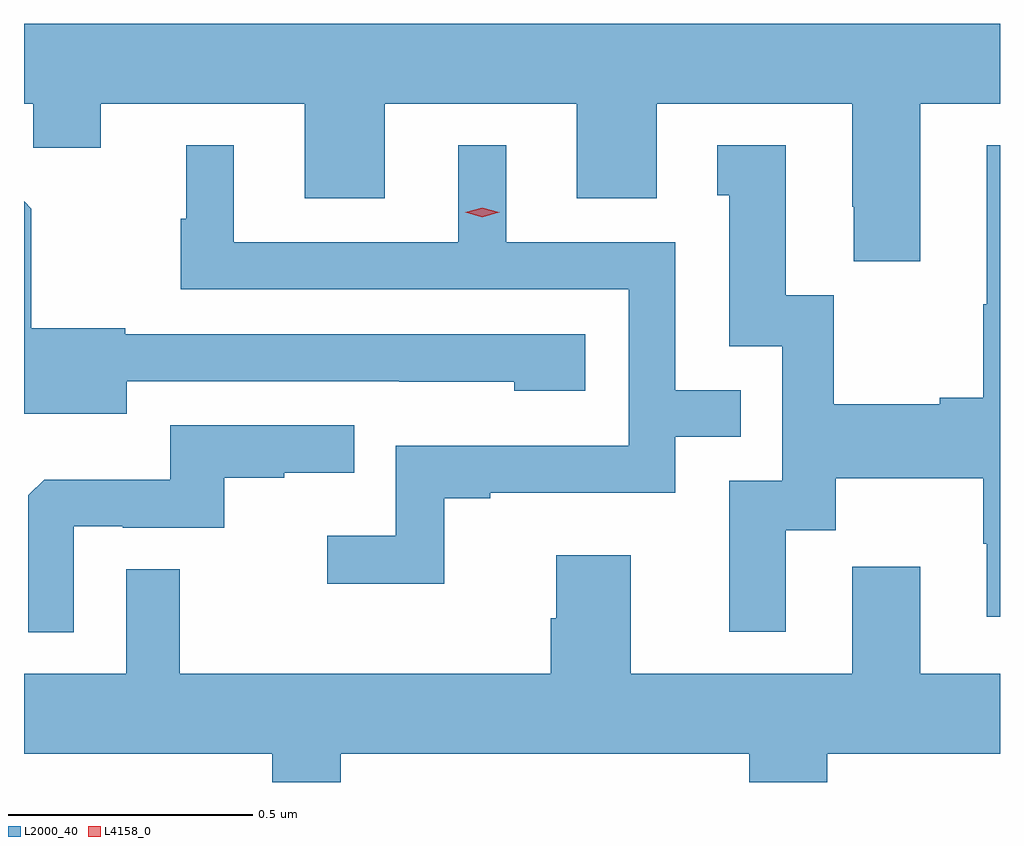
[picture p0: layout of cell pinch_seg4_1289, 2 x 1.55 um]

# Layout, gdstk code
import gdstk
lib = gdstk.Library(unit=1e-6, precision=1e-09)
def P(c, l, *ps):  # polygons
    for p in ps: c.add(gdstk.Polygon(p, *l))
L2000_40 = (2000, 40)
L4158_0 = (4158, 0)

pinch_seg4_1289 = lib.new_cell('pinch_seg4_1289')
P(pinch_seg4_1289, L2000_40, [(265.261,770.18),(265.424,770.18),(265.424,770.344),(263.424,770.344),(263.424,770.18),(263.443,770.18),(263.443,770.09),(263.581,770.09),(263.581,770.18),(263.999,770.18),(263.999,769.986),(264.163,769.986),(264.163,770.18),(264.557,770.18),(264.557,769.986),(264.721,769.986),(264.721,770.18),(265.121,770.18),(265.121,769.969),(265.124,769.969),(265.124,769.857),(265.261,769.857)],
  [(264.285,769.371),(264.379,769.371),(264.379,769.383),(264.759,769.383),(264.759,769.497),(264.893,769.497),(264.893,769.593),(264.759,769.593),(264.759,769.896),(264.412,769.896),(264.412,770.095),(264.314,770.095),(264.314,769.896),(263.854,769.896),(263.854,770.095),(263.756,770.095),(263.756,769.944),(263.745,769.944),(263.745,769.8),(264.663,769.8),(264.663,769.479),(264.186,769.479),(264.186,769.294),(264.045,769.294),(264.045,769.196),(264.285,769.196)],
  [(264.985,769.306),(265.087,769.306),(265.087,769.412),(265.39,769.412),(265.39,769.278),(265.397,769.278),(265.397,769.128),(265.424,769.128),(265.424,770.095),(265.397,770.095),(265.397,769.769),(265.39,769.769),(265.39,769.577),(265.301,769.577),(265.301,769.564),(265.083,769.564),(265.083,769.787),(264.985,769.787),(264.985,770.095),(264.845,770.095),(264.845,769.992),(264.869,769.992),(264.869,769.683),(264.978,769.683),(264.978,769.407),(264.869,769.407),(264.869,769.098),(264.985,769.098)],
  [(263.635,769.611),(264.193,769.611),(264.193,769.61),(264.429,769.61),(264.429,769.592),(264.574,769.592),(264.574,769.707),(263.631,769.707),(263.631,769.72),(263.439,769.72),(263.439,769.965),(263.424,769.98),(263.424,769.544),(263.635,769.544)],
  [(263.526,769.314),(263.626,769.314),(263.626,769.311),(263.834,769.311),(263.834,769.413),(263.957,769.413),(263.957,769.424),(264.101,769.424),(264.101,769.521),(263.724,769.521),(263.724,769.409),(263.465,769.409),(263.433,769.377),(263.433,769.097),(263.526,769.097)],
  [(264.073,768.848),(264.91,768.848),(264.91,768.789),(265.07,768.789),(265.07,768.848),(265.424,768.848),(265.424,769.012),(265.261,769.012),(265.261,769.231),(265.121,769.231),(265.121,769.012),(264.667,769.012),(264.667,769.255),(264.515,769.255),(264.515,769.125),(264.503,769.125),(264.503,769.012),(263.743,769.012),(263.743,769.226),(263.634,769.226),(263.634,769.012),(263.424,769.012),(263.424,768.848),(263.933,768.848),(263.933,768.789),(264.073,768.789)])
P(pinch_seg4_1289, L4158_0, [(264.363,769.947),(264.328,769.957),(264.327,769.957),(264.328,769.957),(264.363,769.967),(264.398,769.957),(264.399,769.957),(264.398,769.957)])

lib.write_gds('pinch_seg4_1289.gds')
